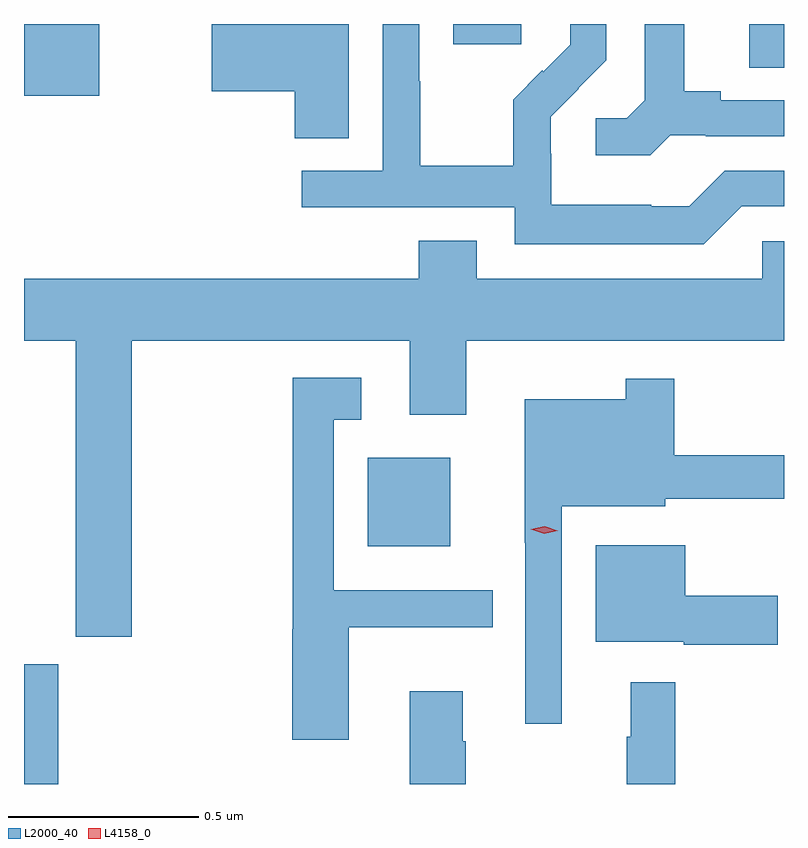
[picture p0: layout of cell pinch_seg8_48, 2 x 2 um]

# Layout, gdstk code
import gdstk
lib = gdstk.Library(unit=1e-6, precision=1e-09)
def R(c, l, rs):  # rectangles x0, y0, x1, y1
    for r in rs: c.add(gdstk.rectangle(r[:2], r[2:], *l))
def P(c, l, *ps):  # polygons
    for p in ps: c.add(gdstk.Polygon(p, *l))
L2000_40 = (2000, 40)
L4158_0 = (4158, 0)

pinch_seg8_48 = lib.new_cell('pinch_seg8_48')
R(pinch_seg8_48, L2000_40, [(897.238,1131.318,897.328,1131.633), (898.142,1131.944,898.36,1132.177), (897.238,1133.129,897.436,1133.318), (899.147,1133.203,899.238,1133.318), (898.367,1133.265,898.546,1133.318)])
P(pinch_seg8_48, L2000_40, [(898.938,1133.025),(899.032,1133.025),(899.032,1133.022),(899.238,1133.022),(899.238,1133.118),(899.071,1133.118),(899.071,1133.141),(898.975,1133.141),(898.975,1133.318),(898.871,1133.318),(898.871,1133.117),(898.824,1133.07),(898.743,1133.07),(898.743,1132.973),(898.886,1132.973)],
  [(899.127,1132.839),(899.238,1132.839),(899.238,1132.932),(899.082,1132.932),(898.989,1132.839),(898.889,1132.839),(898.889,1132.843),(898.626,1132.843),(898.626,1132.977),(898.624,1132.977),(898.624,1133.074),(898.698,1133.148),(898.697,1133.149),(898.77,1133.222),(898.77,1133.318),(898.676,1133.318),(898.676,1133.264),(898.605,1133.193),(898.602,1133.196),(898.525,1133.119),(898.525,1132.945),(898.281,1132.945),(898.281,1133.168),(898.278,1133.168),(898.278,1133.318),(898.182,1133.318),(898.182,1132.932),(897.969,1132.932),(897.969,1132.836),(898.53,1132.836),(898.53,1132.739),(899.027,1132.739)],
  [(898.093,1133.318),(897.732,1133.318),(897.732,1133.141),(897.95,1133.141),(897.95,1133.017),(898.093,1133.017)],
  [(898.277,1132.648),(897.238,1132.648),(897.238,1132.484),(897.374,1132.484),(897.374,1131.705),(897.522,1131.705),(897.522,1132.484),(898.253,1132.484),(898.253,1132.29),(898.402,1132.29),(898.402,1132.484),(899.238,1132.484),(899.238,1132.746),(899.181,1132.746),(899.181,1132.648),(898.429,1132.648),(898.429,1132.747),(898.277,1132.747)],
  [(898.093,1131.731),(898.472,1131.731),(898.472,1131.828),(898.053,1131.828),(898.053,1132.277),(898.126,1132.277),(898.126,1132.387),(897.945,1132.387),(897.945,1131.725),(897.944,1131.725),(897.944,1131.435),(898.093,1131.435)],
  [(898.653,1132.049),(898.926,1132.049),(898.926,1132.069),(899.238,1132.069),(899.238,1132.183),(898.949,1132.183),(898.949,1132.384),(898.821,1132.384),(898.821,1132.33),(898.556,1132.33),(898.556,1131.953),(898.557,1131.953),(898.557,1131.477),(898.653,1131.477)],
  [(899.221,1131.814),(898.978,1131.814),(898.978,1131.946),(898.742,1131.946),(898.742,1131.692),(898.974,1131.692),(898.974,1131.685),(899.221,1131.685)],
  [(898.952,1131.586),(898.835,1131.586),(898.835,1131.443),(898.824,1131.443),(898.824,1131.318),(898.952,1131.318)],
  [(898.401,1131.431),(898.393,1131.431),(898.393,1131.562),(898.253,1131.562),(898.253,1131.318),(898.401,1131.318)])
P(pinch_seg8_48, L4158_0, [(898.607,1131.976),(898.572,1131.988),(898.572,1131.988),(898.572,1131.988),(898.608,1131.996),(898.643,1131.984),(898.643,1131.984),(898.643,1131.984)])

lib.write_gds('pinch_seg8_48.gds')
